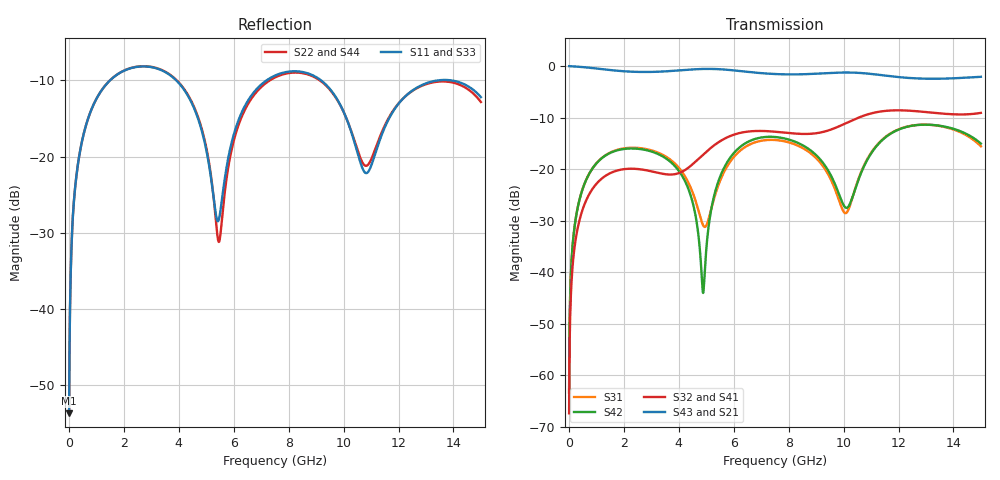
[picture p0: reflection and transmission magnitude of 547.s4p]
! Created with skrf 1.8.0 (http://scikit-rf.org).
# GHz S RI R 50.0
!freq ReS11 ImS11 ReS12 ImS12 ReS13 ImS13
! ReS14 ImS14
! ReS21 ImS21 ReS22 ImS22 ReS23 ImS23
! ReS24 ImS24
! ReS31 ImS31 ReS32 ImS32 ReS33 ImS33
! ReS34 ImS34
! ReS41 ImS41 ReS42 ImS42 ReS43 ImS43
! ReS44 ImS44
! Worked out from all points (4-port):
!   2499 points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, 5 MHz to 15 GHz, reference 50 ohm
!   strongest paths, dB at 5 MHz, 3.476 GHz, 7.19 GHz, 11.1 GHz, 15 GHz:
!     S43: 0.0, -1.0, -1.4, -1.6, -2.1
!     S21: 0.0, -1.0, -1.4, -1.6, -2.1
!     S32: -67.3, -20.9, -12.6, -9.1, -9.1
!     S41: -67.3, -21.0, -12.7, -9.0, -9.1
!     S42: -63.3, -17.7, -13.7, -16.2, -15.0
!     S31: -63.3, -17.4, -14.3, -16.1, -15.6
!   lowest |S11| = -53.7 dB at 5 MHz (marker M1), VSWR 1.00, Z = 50.2 + j0.125 ohm
!   |S11| at or under -10 dB: start of sweep to 1.492 GHz; 3.91 GHz to 7.191 GHz (3.281 GHz wide, 59.1 % of centre); 9.183 GHz to 13.42 GHz (4.237 GHz wide, 37.5 % of centre) (the widest 3 of 4)
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0.005  0.00165 0.00125  0.9983 -0.00321  8.38e-05 0.000678  -8.12e-05 -0.000422
       0.9983 -0.00321  0.00165 0.00125  -8.12e-05 -0.000422  8.37e-05 0.000678
       8.38e-05 0.000678  -8.12e-05 -0.000422  0.00165 0.00125  0.9983 -0.00321
       -8.12e-05 -0.000422  8.37e-05 0.000678  0.9983 -0.00321  0.00165 0.00125
0.3126303  0.0243 0.0822  0.9668 -0.1998  0.0117 0.0402  -0.00955 -0.0247
           0.9668 -0.1998  0.0244 0.0822  -0.00955 -0.0247  0.0114 0.0403
           0.0117 0.0402  -0.00955 -0.0247  0.0243 0.0822  0.9668 -0.1998
           -0.00955 -0.0247  0.0114 0.0403  0.9668 -0.1998  0.0244 0.0822
1.469362  0.2545 0.1828  0.5804 -0.7101  0.128 0.0654  -0.0899 -0.0115
          0.5804 -0.7101  0.2557 0.1821  -0.09 -0.0114  0.1241 0.0703
          0.128 0.0654  -0.09 -0.0114  0.2544 0.1828  0.5804 -0.7102
          -0.0899 -0.0115  0.1241 0.0703  0.5804 -0.7102  0.2558 0.182
4.889537  0.0724 -0.115  -0.8624 -0.3695  -0.0253 -0.0129  -0.0513 0.1291
          -0.8624 -0.3695  0.0656 -0.1235  -0.0498 0.1297  0.00603 0.00194
          -0.0253 -0.0129  -0.0498 0.1297  0.0717 -0.1157  -0.8624 -0.3695
          -0.0513 0.1291  0.00603 0.00194  -0.8624 -0.3695  0.0667 -0.1235
8.497291  0.3554 -0.0547  0.0265 0.8328  0.1402 -0.0796  0.2067 -0.0681
          0.0265 0.8328  0.3509 -0.0404  0.2072 -0.0735  0.1424 -0.0954
          0.1402 -0.0796  0.2072 -0.0735  0.3547 -0.0489  0.0269 0.8329
          0.2067 -0.0681  0.1424 -0.0954  0.0269 0.8329  0.3514 -0.0466
11.14214  0.0946 0.0412  0.8315 0.00237  0.0373 0.1581  -0.0152 -0.355
          0.8315 0.00237  0.1032 0.0404  -0.0242 -0.3538  0.0359 0.1563
          0.0373 0.1581  -0.0242 -0.3538  0.1002 0.0398  0.8314 0.00143
          -0.0152 -0.355  0.0359 0.1563  0.8314 0.00143  0.0977 0.042
15  0.1972 -0.1468  -0.3581 -0.7012  0.1064 -0.1284  -0.2864 0.2004
    -0.3581 -0.7012  0.1791 -0.1416  -0.28 0.2129  0.0824 -0.1568
    0.1064 -0.1284  -0.28 0.2129  0.1957 -0.1429  -0.36 -0.7003
    -0.2864 0.2004  0.0824 -0.1568  -0.36 -0.7003  0.1785 -0.1462
